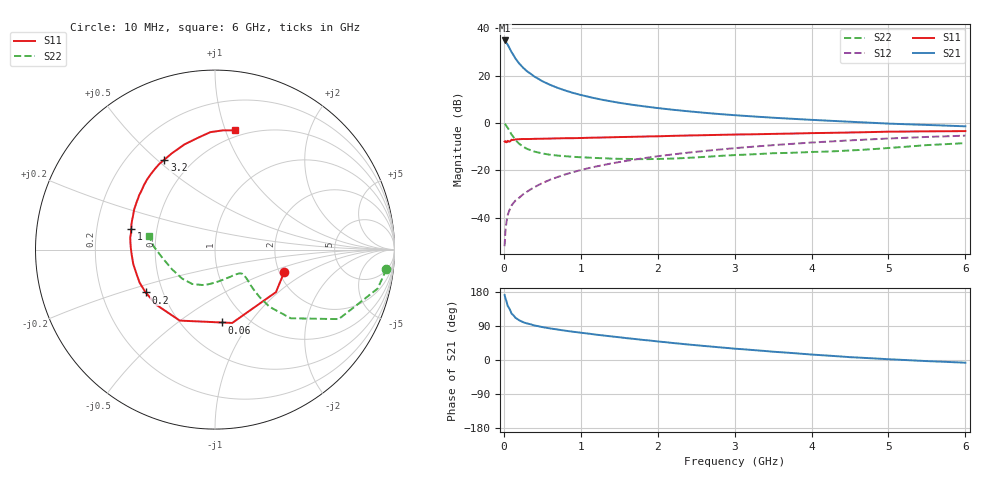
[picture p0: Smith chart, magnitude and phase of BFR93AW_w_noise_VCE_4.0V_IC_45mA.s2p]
! Infineon Technologies  Discrete & RF Semiconductors
! BFR93AW
! VCE =  4.0 V,  IC =  45 mA
! Common Emitter S-Parameters:  Jan 2017
# GHz  S  MA  R  50
!  f  S11  S21  S12  S22
! GHz  MAG  ANG  MAG  ANG  MAG  ANG  MAG  ANG
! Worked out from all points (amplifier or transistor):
!   77 points, 10 MHz to 6 GHz, reference 50 ohm
!   highest |S21| = 34.8 dB at 10 MHz (marker M1)
!   |S21| within 3 dB of that: start of sweep to 69.71 MHz
!   unconditionally stable (mu >= 1): 471.5 MHz to 2.046 GHz
!   at 130 MHz: K = 0.62, MSG = 31.0 dB, |S12| = -33.6 dB
!   at 2.2 GHz: K = 0.99, MSG = 9.4 dB, |S12| = -13.3 dB
!   at 6 GHz: K = 0.89, MSG = 2.0 dB, |S12| = -5.4 dB
!   lowest NFmin = 2.16 dB at 450 MHz
!   S11 on the Smith chart (normalised r, x): 10 MHz: 2.13, -0.64; 60 MHz: 0.76, -0.74; 200 MHz: 0.40, -0.24; 1 GHz: 0.36, +0.11; 3.2 GHz: 0.35, +0.53; 6 GHz: 0.44, +1.08
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0.01  0.4054 -18.0  55.26 171.3  0.0025 84.8  0.9616 -6.5
0.02  0.4141 -34.9  54.1 163.3  0.0051 82.7  0.9316 -13.5
0.05  0.4198 -76.8  45.01 142.8  0.0113 67.2  0.7907 -29.3
0.06  0.4078 -84.7  41.96 139.8  0.0126 65.3  0.7441 -31.3
0.1  0.4416 -116.4  31.41 122.5  0.0181 60.7  0.5698 -42.2
0.15  0.4485 -136.5  23.1 111.6  0.0228 60.4  0.4387 -46.4
0.2  0.4544 -148.3  18.01 104.8  0.0264 62.9  0.3631 -46.8
0.25  0.4586 -156.3  14.73 99.9  0.0311 64.3  0.3167 -46.1
0.3  0.4575 -161.9  12.39 96.5  0.0352 66.5  0.2845 -45.1
0.4  0.4625 -170.0  9.468 91.0  0.0442 68.8  0.2476 -43.0
0.5  0.4646 -175.9  7.619 86.9  0.0536 70.5  0.2272 -41.9
0.6  0.4685 179.6  6.402 83.4  0.0632 71.3  0.2132 -41.4
0.7  0.4726 175.5  5.507 80.4  0.0723 72.0  0.2045 -41.5
1  0.481 165.9  3.906 72.0  0.1012 71.8  0.1885 -45.0
1.1  0.4864 163.1  3.569 69.6  0.1109 71.5  0.1857 -46.7
1.5  0.5037 153.1  2.668 60.0  0.1493 68.8  0.1747 -57.1
2.1  0.5284 139.9  1.981 47.0  0.2075 64.1  0.1751 -78.8
3.1  0.5721 121.1  1.423 28.5  0.3025 54.5  0.2127 -112.7
3.2  0.5752 119.4  1.388 26.9  0.3117 53.4  0.2162 -115.6
4.1  0.6133 104.7  1.142 13.1  0.3942 44.0  0.246 -141.9
5.1  0.6565 91.1  0.956 1.1  0.4768 32.8  0.3038 -173.5
6  0.6734 80.7  0.85 -7.1  0.5396 22.7  0.3758 168.4
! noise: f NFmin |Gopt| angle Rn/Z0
0.45  2.16  0.24  -179  0.17
0.9  2.46  0.3  -169  0.17
1.9  3.55  0.53  -132  0.39
2.4  4.27  0.57  -122  0.72
